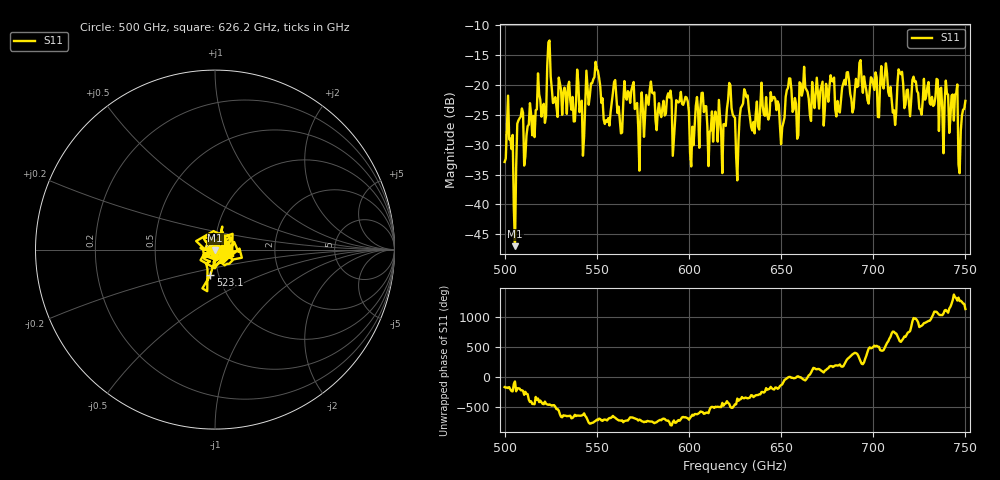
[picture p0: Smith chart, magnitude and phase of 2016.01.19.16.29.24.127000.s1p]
!Created with skrf (http://scikit-rf.org).
# GHz S RI R 50.0
!freq ReS11 ImS11
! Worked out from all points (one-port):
!   401 points, 500 GHz to 750 GHz, reference 50 ohm
!   lowest |S11| = -47.0 dB at 505.6 GHz (marker M1), VSWR 1.01, Z = 50.1 - j0.434 ohm
!   |S11| at or under -10 dB: start of sweep to end of sweep
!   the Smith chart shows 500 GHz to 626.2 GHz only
!   S11 on the Smith chart (normalised r, x): 500 GHz: 0.96, -0.01; 523.1 GHz: 0.91, -0.26; 626.2 GHz: 1.03, -0.00
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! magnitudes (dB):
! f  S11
! 500 GHz  -32.9
! 503.1 GHz  -29.0
! 505.6 GHz  -47.0
! 508.1 GHz  -25.6
! 511.9 GHz  -28.4
! 523.1 GHz  -16.8
! 531.2 GHz  -25.0
! 541.9 GHz  -22.6
! 550 GHz  -17.3
! 555 GHz  -25.9
! 559.4 GHz  -19.5
! 562.5 GHz  -26.0
! 568.8 GHz  -20.9
! 593.8 GHz  -22.8
! 601.9 GHz  -27.0
! 607.5 GHz  -21.3
! 618.8 GHz  -26.6
! 621.9 GHz  -19.7
! 625 GHz  -25.5
! 626.2 GHz  -36.0
! 630.6 GHz  -21.2
! 650.6 GHz  -27.1
! 656.2 GHz  -24.5
! 687.5 GHz  -21.5
! 718.8 GHz  -20.8
! 744.4 GHz  -21.6
! 747.5 GHz  -27.7
! 750 GHz  -22.7
